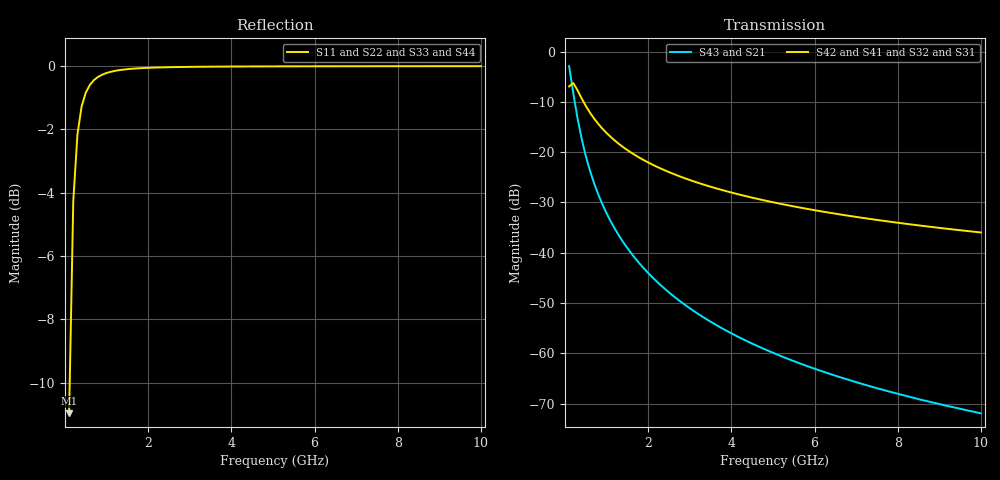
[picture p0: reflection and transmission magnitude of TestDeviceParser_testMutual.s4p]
# MHz MA S R 50.0
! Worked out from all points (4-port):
!   100 points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, 100 MHz to 10 GHz, reference 50 ohm
!   strongest paths, dB at 100 MHz, 2.6 GHz, 5.1 GHz, 7.6 GHz, 10 GHz:
!     S42: -6.9, -24.3, -30.1, -33.6, -36.0
!     S41: -6.9, -24.3, -30.1, -33.6, -36.0
!     S32: -6.9, -24.3, -30.1, -33.6, -36.0
!     S31: -6.9, -24.3, -30.1, -33.6, -36.0
!     S43: -2.9, -48.6, -60.2, -67.2, -71.9
!     S21: -2.9, -48.6, -60.2, -67.2, -71.9
!   lowest |S11| = -11.0 dB at 100 MHz (marker M1), VSWR 1.79, Z = 89.5 + j0 ohm
!   |S11| at or under -10 dB: start of sweep to 114.4 MHz
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100  0.283 0.0  0.717 0.0  0.4505 90.0  0.4505 -90.0
     0.717 0.0  0.283 0.0  0.4505 -90.0  0.4505 90.0
     0.4505 90.0  0.4505 -90.0  0.283 0.0  0.717 0.0
     0.4505 -90.0  0.4505 90.0  0.717 0.0  0.283 0.0
200  0.6123 0.0  0.3877 0.0  0.4872 90.0  0.4872 -90.0
     0.3877 0.0  0.6123 0.0  0.4872 -90.0  0.4872 90.0
     0.4872 90.0  0.4872 -90.0  0.6123 0.0  0.3877 0.0
     0.4872 -90.0  0.4872 90.0  0.3877 0.0  0.6123 0.0
300  0.7804 0.0  0.2196 0.0  0.414 90.0  0.414 -90.0
     0.2196 0.0  0.7804 0.0  0.414 -90.0  0.414 90.0
     0.414 90.0  0.414 -90.0  0.7804 0.0  0.2196 0.0
     0.414 -90.0  0.414 90.0  0.2196 0.0  0.7804 0.0
900  0.9697 0.0  0.03032 0.0  0.1715 90.0  0.1715 -90.0
     0.03032 0.0  0.9697 0.0  0.1715 -90.0  0.1715 90.0
     0.1715 90.0  0.1715 -90.0  0.9697 0.0  0.03032 0.0
     0.1715 -90.0  0.1715 90.0  0.03032 0.0  0.9697 0.0
2500  0.996 0.0  0.004036 0.0  0.06341 90.0  0.06341 -90.0
      0.004036 0.0  0.996 0.0  0.06341 -90.0  0.06341 90.0
      0.06341 90.0  0.06341 -90.0  0.996 0.0  0.004036 0.0
      0.06341 -90.0  0.06341 90.0  0.004036 0.0  0.996 0.0
5400  0.9991 0.0  0.000868 0.0  0.02945 90.0  0.02945 -90.0
      0.000868 0.0  0.9991 0.0  0.02945 -90.0  0.02945 90.0
      0.02945 90.0  0.02945 -90.0  0.9991 0.0  0.000868 0.0
      0.02945 -90.0  0.02945 90.0  0.000868 0.0  0.9991 0.0
10000  0.9997 0.0  0.000253 0.0  0.01591 90.0  0.01591 -90.0
       0.000253 0.0  0.9997 0.0  0.01591 -90.0  0.01591 90.0
       0.01591 90.0  0.01591 -90.0  0.9997 0.0  0.000253 0.0
       0.01591 -90.0  0.01591 90.0  0.000253 0.0  0.9997 0.0
